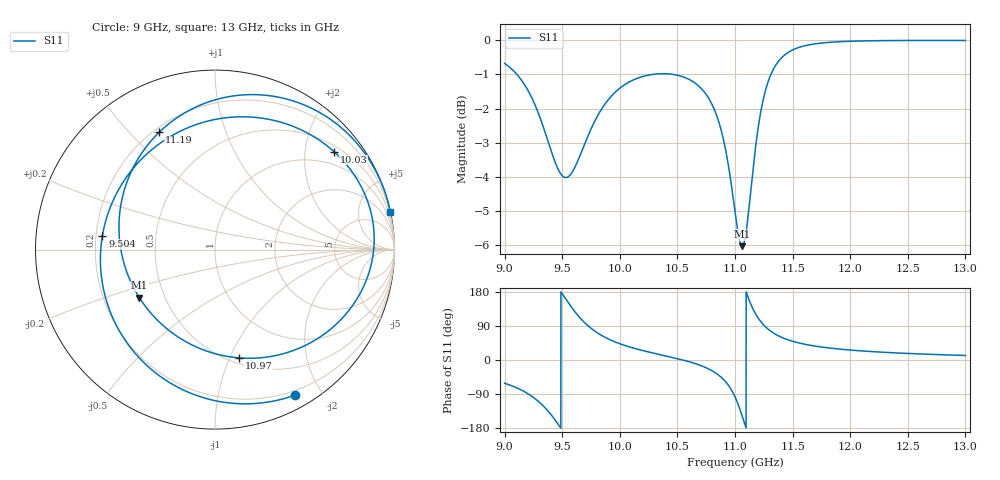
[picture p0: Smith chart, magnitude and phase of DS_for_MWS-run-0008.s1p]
! TOUCHSTONE file generated by CST DESIGN STUDIO
! Date and time: Wed Feb  5 13:36:17 2025
! Project name: C:\Work\MatlabApps\UnitCellOptimizationMatlab\CST\unitcell.cst
! Tree item: Tasks\Sweep1\SPara1\S-Parameters
! Header version: 2024
! Port assignment regex: !\s*Touchstone port\s*([0-9]+)\s*=\s*(CST MWS port|CST DES external port|CST DES block port)\s*(.+)\s* \(\"(.*)\"\)(\s*mode\s*([0-9]+))?.*
! Touchstone port assignment:
! Touchstone port 1 = CST DES external port 1 ("")
# GHz S MA R 50
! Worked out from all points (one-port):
!   4001 points, 9 GHz to 13 GHz, reference 50 ohm
!   lowest |S11| = -6.0 dB at 11.06 GHz (marker M1), VSWR 2.99, Z = 17.9 - j12.8 ohm
!   |S11| at or under -10 dB: nowhere
!   S11 on the Smith chart (normalised r, x): 9 GHz: 0.15, -1.68; 9.504 GHz: 0.23, +0.06; 10.03 GHz: 0.64, +2.66; 10.97 GHz: 0.56, -1.08; 11.19 GHz: 0.22, +0.61; 13 GHz: 0.03, +9.56
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9  0.9249 -61.4
9.169  0.863 -83.1
9.283  0.7899 -106.6
9.409  0.6845 -146.5
9.5  0.6332 174.9
9.504  0.6322 173.1
9.608  0.6506 128.2
9.705  0.7116 95.5
9.848  0.7959 63.8
10  0.8508 42.9
10.033  0.8588 39.4
10.245  0.8889 21.5
10.5  0.8888 3.7
10.793  0.8101 -27.1
10.885  0.7328 -46.9
10.966  0.6181 -77.4
11  0.5611 -97.1
11.062  0.4993 -147.6
11.122  0.5694 158.7
11.191  0.7242 115.4
11.238  0.8085 96.0
11.295  0.8768 79.5
11.388  0.9363 62.1
11.5  0.9679 49.4
11.699  0.9882 36.5
12  0.9967 26.2
12.5  0.9993 17.3
13  0.9994 11.9
